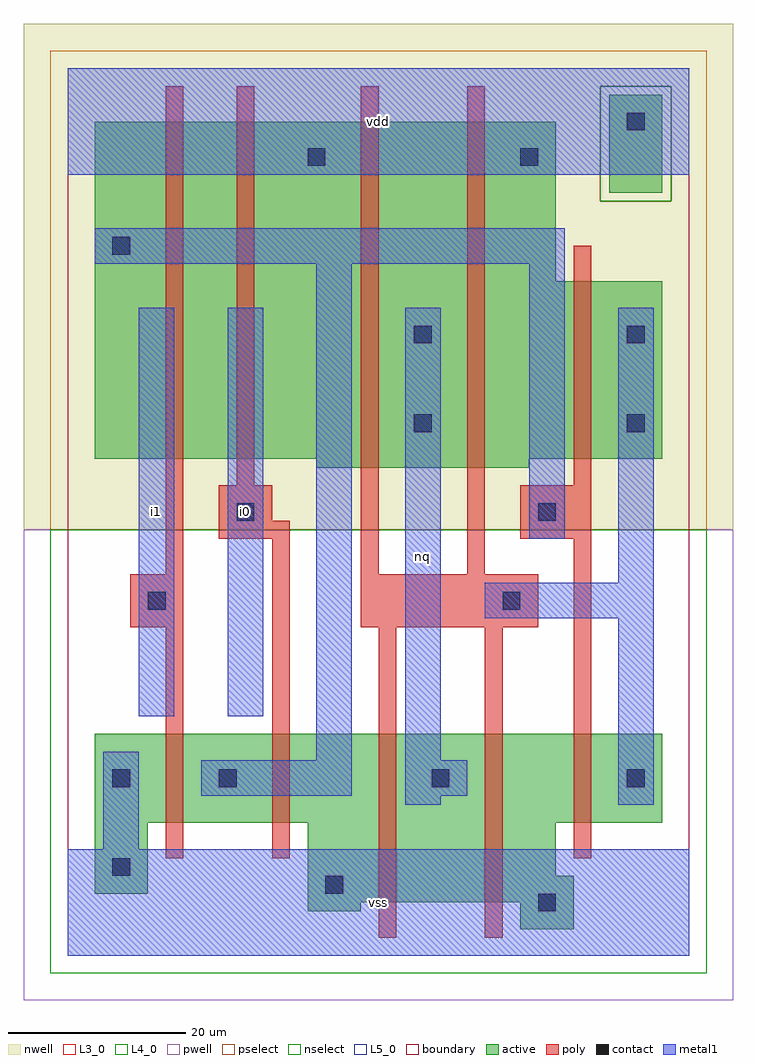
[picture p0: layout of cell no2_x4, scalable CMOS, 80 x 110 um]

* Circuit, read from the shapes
.subckt no2_x4 i0 i1 nq vdd vss
M1 n1 i1 vss VSUBS nfet w=10u l=2u
M2 vss i0 n1 VSUBS nfet w=10u l=2u
M3 nq n2 vss VSUBS nfet w=19u l=2u m=2
M4 n2 n1 vss VSUBS nfet w=10u l=2u
M5 n3 i1 n1 vdd pfet w=38u l=2u
M6 vdd i0 n3 vdd pfet w=38u l=2u
M7 nq n2 vdd vdd pfet w=39u l=2u m=2
M8 n2 n1 vdd vdd pfet w=20u l=2u
.ends

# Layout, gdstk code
import gdstk
lib = gdstk.Library(unit=1e-6, precision=1e-09)
def R(c, l, rs):  # rectangles x0, y0, x1, y1
    for r in rs: c.add(gdstk.rectangle(r[:2], r[2:], *l))
L3_0 = (3, 0)
L4_0 = (4, 0)
L5_0 = (5, 0)
contact = (25, 0)
pwell = (41, 0)
nwell = (42, 0)
active = (43, 0)
pselect = (44, 0)
nselect = (45, 0)
poly = (46, 0)
metal1 = (49, 0)
boundary = (63, 0)

no2_x4 = lib.new_cell('no2_x4')
R(no2_x4, L3_0, [(51,3,57,6), (27,5,33,6), (27,6,57,9), (3,7,9,15), (27,9,55,15), (3,15,67,25)])
R(no2_x4, L4_0, [(28,55,52,56), (3,56,67,76), (3,76,55,94)])
R(no2_x4, L5_0, [(61,86,67,97)])
R(no2_x4, contact, [(53,5,55,7), (29,7,31,9), (5,9,7,11), (5,19,7,21), (17,19,19,21), (41,19,43,21), (63,19,65,21), (9,39,11,41), (49,39,51,41), (19,49,21,51), (53,49,55,51), (39,59,41,61), (63,59,65,61), (39,69,41,71), (63,69,65,71), (5,79,7,81), (27,89,29,91), (51,89,53,91), (63,93,65,95)])
R(no2_x4, pwell, [(-5,-5,75,48)])
R(no2_x4, nwell, [(-5,48,75,105)])
R(no2_x4, active, [(51,3,57,6), (27,5,33,6), (27,6,57,9), (3,7,9,15), (27,9,55,15), (3,15,67,25), (28,55,52,56), (3,56,67,76), (3,76,55,94), (61,86,67,97)])
R(no2_x4, pselect, [(-2,48,72,85), (-2,85,60,98), (68,85,72,98), (-2,98,72,102)])
R(no2_x4, nselect, [(-2,-2,72,48), (60,85,68,98)])
R(no2_x4, poly, [(35,2,37,37), (47,2,49,37), (11,11,13,37), (23,11,25,47), (57,11,59,47), (7,37,13,43), (33,37,53,43), (11,43,13,98), (33,43,35,98), (45,43,47,98), (17,47,25,49), (51,47,59,53), (17,49,23,53), (19,53,21,98), (57,53,59,80)])
R(no2_x4, metal1, [(0,0,70,12), (4,12,8,23), (38,17,42,18), (62,17,66,38), (15,18,32,22), (38,18,45,22), (28,22,32,78), (38,22,42,73), (8,27,12,73), (18,27,22,73), (47,38,66,42), (62,42,66,73), (52,47,56,78), (3,78,56,82), (0,88,70,100)])
R(no2_x4, boundary, [(0,0,70,100)])
no2_x4.add(gdstk.Label('i1', (10,50), layer=49, texttype=0))
no2_x4.add(gdstk.Label('i0', (20,50), layer=49, texttype=0))
no2_x4.add(gdstk.Label('vss', (35,6), layer=49, texttype=0))
no2_x4.add(gdstk.Label('nq', (40,45), layer=49, texttype=0))
no2_x4.add(gdstk.Label('vdd', (35,94), layer=49, texttype=0))

lib.write_gds('no2_x4.gds')
